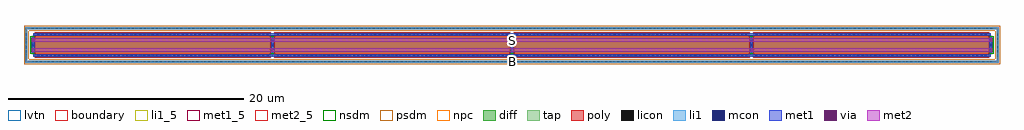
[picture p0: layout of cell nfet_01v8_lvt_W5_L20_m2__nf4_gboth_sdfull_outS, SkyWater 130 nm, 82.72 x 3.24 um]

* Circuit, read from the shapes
.subckt nfet_01v8_lvt_W5_L20_m2__nf4_gboth_sdfull_outS B D G S
XM1 D G S B sky130_fd_pr__nfet_01v8_lvt w=1.25 l=20 m=4
.ends

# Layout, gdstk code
import gdstk
lib = gdstk.Library(unit=1e-6, precision=1e-09)
def R(c, l, rs):  # rectangles x0, y0, x1, y1
    for r in rs: c.add(gdstk.rectangle(r[:2], r[2:], *l))
def A(c, l, x, y, w, h, nx, ny, dx, dy):  # array of equal rectangles
    R(c, l, [(x+i*dx, y+j*dy, x+i*dx+w, y+j*dy+h) for i in range(nx) for j in range(ny)])
diff = (65, 20)
tap = (65, 44)
poly = (66, 20)
licon = (66, 44)
li1_5 = (67, 5)
li1 = (67, 20)
mcon = (67, 44)
met1_5 = (68, 5)
met1 = (68, 20)
via = (68, 44)
met2_5 = (69, 5)
met2 = (69, 20)
nsdm = (93, 44)
psdm = (94, 20)
npc = (95, 20)
lvtn = (125, 44)
boundary = (235, 4)

sky130_fd_pr__nfet_01v8_ = lib.new_cell('sky130_fd_pr__nfet_01v8_lvt_EMGEN3')
R(sky130_fd_pr__nfet_01v8_, diff, [(-40.725,-0.625,40.725,0.625)])
R(sky130_fd_pr__nfet_01v8_, tap, [(-41.235,-1.495,41.235,-1.325), (-41.235,-1.325,-41.065,1.325), (41.065,-1.325,41.235,1.325), (-41.235,1.325,41.235,1.495)])
A(sky130_fd_pr__nfet_01v8_, poly, -40.435, -1.065, 20, 2.13, 4, 1, 20.29, 0)
A(sky130_fd_pr__nfet_01v8_, licon, -40.715, -1.495, 0.17, 0.17, 240, 2, 0.34, 2.82)
A(sky130_fd_pr__nfet_01v8_, licon, -40.21, -0.985, 0.17, 0.17, 58, 2, 0.34, 1.8)
A(sky130_fd_pr__nfet_01v8_, licon, -19.92, -0.985, 0.17, 0.17, 58, 2, 0.34, 1.8)
A(sky130_fd_pr__nfet_01v8_, licon, 0.37, -0.985, 0.17, 0.17, 58, 2, 0.34, 1.8)
A(sky130_fd_pr__nfet_01v8_, licon, 20.66, -0.985, 0.17, 0.17, 58, 2, 0.34, 1.8)
A(sky130_fd_pr__nfet_01v8_, licon, -41.235, -0.935, 0.17, 0.17, 1, 6, 0, 0.34)
A(sky130_fd_pr__nfet_01v8_, licon, 41.065, -0.935, 0.17, 0.17, 1, 6, 0, 0.34)
A(sky130_fd_pr__nfet_01v8_, licon, -40.665, -0.425, 0.17, 0.17, 5, 3, 20.29, 0.34)
A(sky130_fd_pr__nfet_01v8_, li1, -40.665, -0.645, 0.17, 1.29, 5, 1, 20.29, 0)
R(sky130_fd_pr__nfet_01v8_, li1, [(-41.235,-1.495,41.235,-1.325), (-41.235,-1.325,-41.065,1.325), (41.065,-1.325,41.235,1.325), (-40.58,-0.985,40.58,-0.815), (-40.58,0.815,40.58,0.985), (-41.235,1.325,41.235,1.495)])
A(sky130_fd_pr__nfet_01v8_, mcon, -40.24, -0.985, 0.17, 0.17, 55, 2, 0.36, 1.8)
A(sky130_fd_pr__nfet_01v8_, mcon, -19.95, -0.985, 0.17, 0.17, 55, 2, 0.36, 1.8)
A(sky130_fd_pr__nfet_01v8_, mcon, 0.34, -0.985, 0.17, 0.17, 55, 2, 0.36, 1.8)
A(sky130_fd_pr__nfet_01v8_, mcon, 20.63, -0.985, 0.17, 0.17, 55, 2, 0.36, 1.8)
A(sky130_fd_pr__nfet_01v8_, mcon, -40.665, -0.445, 0.17, 0.17, 5, 3, 20.29, 0.36)
A(sky130_fd_pr__nfet_01v8_, met1, -40.415, -1.015, 19.96, 0.03, 4, 2, 20.29, 0.2)
A(sky130_fd_pr__nfet_01v8_, met1, -40.695, -0.625, 0.23, 1.25, 5, 1, 20.29, 0)
A(sky130_fd_pr__nfet_01v8_, met1, -40.415, 0.785, 19.96, 0.03, 4, 2, 20.29, 0.2)
R(sky130_fd_pr__nfet_01v8_, met1, [(-40.58,-0.985,40.58,-0.815), (-40.58,0.815,40.58,0.985)])
R(sky130_fd_pr__nfet_01v8_, nsdm, [(-40.85,-0.75,40.85,0.75)])
R(sky130_fd_pr__nfet_01v8_, psdm, [(-41.36,-1.62,41.36,-1.2), (-41.36,-1.2,-40.94,1.2), (40.94,-1.2,41.36,1.2), (-41.36,1.2,41.36,1.62)])
A(sky130_fd_pr__nfet_01v8_, npc, -40.31, -1.085, 19.75, 0.37, 4, 2, 20.29, 1.8)
R(sky130_fd_pr__nfet_01v8_, lvtn, [(-40.615,-0.805,40.615,0.805)])
R(sky130_fd_pr__nfet_01v8_, boundary, [(-41.15,-1.41,41.15,1.41)])
sky130_fd_pr__nfet_01v8_.add(gdstk.Label('B', (0,-1.41), layer=67, texttype=5))
sky130_fd_pr__nfet_01v8_.add(gdstk.Label('D0', (-40.58,0), layer=67, texttype=5))
sky130_fd_pr__nfet_01v8_.add(gdstk.Label('G', (30.435,0.9), layer=67, texttype=5))
sky130_fd_pr__nfet_01v8_.add(gdstk.Label('G', (10.145,0.9), layer=67, texttype=5))
sky130_fd_pr__nfet_01v8_.add(gdstk.Label('G', (-10.145,0.9), layer=67, texttype=5))
sky130_fd_pr__nfet_01v8_.add(gdstk.Label('G', (-30.435,0.9), layer=67, texttype=5))
sky130_fd_pr__nfet_01v8_.add(gdstk.Label('S1', (-20.29,0), layer=67, texttype=5))
sky130_fd_pr__nfet_01v8_.add(gdstk.Label('D2', (0,0), layer=67, texttype=5))
sky130_fd_pr__nfet_01v8_.add(gdstk.Label('S3', (20.29,0), layer=67, texttype=5))

nfet_01v8_lvt_w5_l20_m2_ = lib.new_cell('nfet_01v8_lvt_W5_L20_m2__nf4_gboth_sdfull_outS')
R(nfet_01v8_lvt_w5_l20_m2_, li1_5, [(41.065,-0.085,41.235,0.085)])
R(nfet_01v8_lvt_w5_l20_m2_, li1, [(41.065,-0.085,41.235,0.085)])
R(nfet_01v8_lvt_w5_l20_m2_, met1_5, [(0.57,2.195,81.73,2.425)])
A(nfet_01v8_lvt_w5_l20_m2_, met1, 0.44, 1.665, 0.26, 0.32, 3, 1, 40.58, 0)
R(nfet_01v8_lvt_w5_l20_m2_, met1, [(20.73,0.835,20.99,1.155), (61.31,0.835,61.57,1.155), (0.57,2.195,81.73,2.425)])
A(nfet_01v8_lvt_w5_l20_m2_, via, 0.495, 1.75, 0.15, 0.15, 3, 1, 40.58, 0)
R(nfet_01v8_lvt_w5_l20_m2_, via, [(20.785,0.92,20.935,1.07), (61.365,0.92,61.515,1.07)])
R(nfet_01v8_lvt_w5_l20_m2_, met2_5, [(0.435,0.835,81.865,1.155), (0.435,1.665,81.865,1.985)])
R(nfet_01v8_lvt_w5_l20_m2_, met2, [(0.435,0.835,81.865,1.155), (0.435,1.665,81.865,1.985)])
nfet_01v8_lvt_w5_l20_m2_.add(gdstk.Reference(sky130_fd_pr__nfet_01v8_, (41.15,1.41)))
nfet_01v8_lvt_w5_l20_m2_.add(gdstk.Label('S', (41.15,1.825), layer=69, texttype=5))
nfet_01v8_lvt_w5_l20_m2_.add(gdstk.Label('D', (41.15,0.995), layer=69, texttype=5))
nfet_01v8_lvt_w5_l20_m2_.add(gdstk.Label('G', (41.15,2.31), layer=68, texttype=5))
nfet_01v8_lvt_w5_l20_m2_.add(gdstk.Label('B', (41.15,0), layer=67, texttype=5))

lib.write_gds('nfet_01v8_lvt_W5_L20_m2__nf4_gboth_sdfull_outS.gds')
